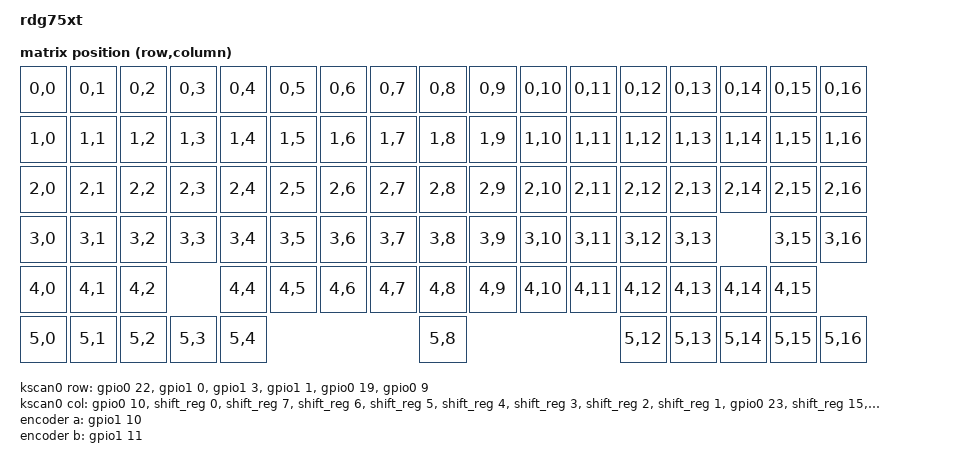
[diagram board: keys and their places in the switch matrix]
/*
 * Copyright (c) 2020 The ZMK Contributors
 *
 * SPDX-License-Identifier: MIT
 */

/dts-v1/;
#include <nordic/nrf52840_qiaa.dtsi>
#include <dt-bindings/zmk/matrix_transform.h>

/ {
	model = "rdg75xt";
	compatible = "rdg75xt";

	chosen {
		zephyr,code-partition = &code_partition;
		zephyr,sram = &sram0;
		zephyr,flash = &flash0;
		zephyr,display = &nice_view;
		zmk,kscan = &kscan0;
        zmk,matrix_transform = &default_transform;
		zmk,battery = &vbatt;
	};
 
	kscan0: kscan {
		compatible = "zmk,kscan-gpio-matrix";
		label = "KSCAN";
		diode-direction = "col2row";

        debounce-press-ms = <1>;
		debounce-release-ms = <5>;

		row-gpios
			= <&gpio0 22 (GPIO_ACTIVE_HIGH | GPIO_PULL_DOWN)>
			, <&gpio1  0 (GPIO_ACTIVE_HIGH | GPIO_PULL_DOWN)>
			, <&gpio1  3 (GPIO_ACTIVE_HIGH | GPIO_PULL_DOWN)>
			, <&gpio1  1 (GPIO_ACTIVE_HIGH | GPIO_PULL_DOWN)>
			, <&gpio0 19 (GPIO_ACTIVE_HIGH | GPIO_PULL_DOWN)>
			, <&gpio0  9 (GPIO_ACTIVE_HIGH | GPIO_PULL_DOWN)>
			;
		col-gpios
			= <&gpio0 10 GPIO_ACTIVE_HIGH>
			, <&shift_reg  0 GPIO_ACTIVE_HIGH>
			, <&shift_reg  7 GPIO_ACTIVE_HIGH>
			, <&shift_reg  6 GPIO_ACTIVE_HIGH>
			, <&shift_reg  5 GPIO_ACTIVE_HIGH>
			, <&shift_reg  4 GPIO_ACTIVE_HIGH>
			, <&shift_reg  3 GPIO_ACTIVE_HIGH>
			, <&shift_reg  2 GPIO_ACTIVE_HIGH>
			, <&shift_reg  1 GPIO_ACTIVE_HIGH>
			, <&gpio0 23 GPIO_ACTIVE_HIGH>
			, <&shift_reg 15 GPIO_ACTIVE_HIGH>
			, <&shift_reg 14 GPIO_ACTIVE_HIGH>
			, <&shift_reg 13 GPIO_ACTIVE_HIGH>
			, <&shift_reg 12 GPIO_ACTIVE_HIGH>
			, <&shift_reg 11 GPIO_ACTIVE_HIGH>
            , <&shift_reg 10 GPIO_ACTIVE_HIGH>
            , <&shift_reg  8 GPIO_ACTIVE_HIGH>
			;
	};

	default_transform: keymap_transform_0 {
        compatible = "zmk,matrix-transform";
        columns = <17>;
        rows = <6>;
        map = <
RC(0,0) RC(0,1) RC(0,2) RC(0,3) RC(0,4) RC(0,5) RC(0,6) RC(0,7) RC(0,8) RC(0,9) RC(0,10) RC(0,11) RC(0,12) RC(0,13) RC(0,14) RC(0,15) RC(0,16)
RC(1,0) RC(1,1) RC(1,2) RC(1,3) RC(1,4) RC(1,5) RC(1,6) RC(1,7) RC(1,8) RC(1,9) RC(1,10) RC(1,11) RC(1,12) RC(1,13) RC(1,14) RC(1,15) RC(1,16)
RC(2,0) RC(2,1) RC(2,2) RC(2,3) RC(2,4) RC(2,5) RC(2,6) RC(2,7) RC(2,8) RC(2,9) RC(2,10) RC(2,11) RC(2,12) RC(2,13) RC(2,14) RC(2,15) RC(2,16)
RC(3,0) RC(3,1) RC(3,2) RC(3,3) RC(3,4) RC(3,5) RC(3,6) RC(3,7) RC(3,8) RC(3,9) RC(3,10) RC(3,11) RC(3,12) RC(3,13)          RC(3,15) RC(3,16)
RC(4,0) RC(4,1) RC(4,2)         RC(4,4) RC(4,5) RC(4,6) RC(4,7) RC(4,8) RC(4,9) RC(4,10) RC(4,11) RC(4,12) RC(4,13) RC(4,14) RC(4,15)
RC(5,0) RC(5,1) RC(5,2) RC(5,3) RC(5,4)                         RC(5,8)                           RC(5,12) RC(5,13) RC(5,14) RC(5,15) RC(5,16)
        >;
    };

	sensors {
		compatible = "zmk,keymap-sensors";
		sensors = <&encoder>;
	};

	encoder: encoder_left {
		compatible = "alps,ec11";
		label = "LEFT_ENCODER";
		a-gpios = <&gpio1 10 (GPIO_ACTIVE_HIGH | GPIO_PULL_UP)>;
		b-gpios = <&gpio1 11 (GPIO_ACTIVE_HIGH | GPIO_PULL_UP)>;
		resolution = <2>;
	};

	vbatt: vbatt {
		compatible = "zmk,battery-voltage-divider";
		label = "BATTERY";
		io-channels = <&adc 7>;
		output-ohms = <2000000>;
		full-ohms = <(2000000 + 806000)>;
	};
};

&adc {
	status = "okay";
};

&gpio0 {
	status = "okay";
};

&gpio1 {
	status = "okay";
};
&usbd {
	status = "okay";
};

nice_view_spi: &spi1 {
    compatible = "nordic,nrf-spim";
    status = "okay";
    mosi-pin = <47>; // P1.15
    sck-pin =  <45>; // P1.13
    miso-pin = <46>; // P1.14, unused

    cs-gpios = <&gpio0 21 GPIO_ACTIVE_LOW>, <&gpio0 2 GPIO_ACTIVE_HIGH>;
    shift_reg: 595@0 {
        compatible = "zmk,gpio-595";
        status = "okay";
        gpio-controller;
        spi-max-frequency = <200000>;
        reg = <0>;
        label = "4HC595";
		#gpio-cells = <2>;
        ngpios = <16>;
    };

	nice_view: ls0xx@1 {
		compatible = "sharp,ls0xx";
		label = "DISPLAY";
		spi-max-frequency = <1000000>;
		reg = <1>;
		width = <160>;
		height = <68>;
	};
};

&flash0 {
	/*
	 * For more information, see:
	 * http://docs.zephyrproject.org/latest/devices/dts/flash_partitions.html
	 */
	partitions {
		compatible = "fixed-partitions";
		#address-cells = <1>;
		#size-cells = <1>;

		sd_partition: partition@0 {
			label = "softdevice";
			reg = <0x00000000 0x00026000>;
		};
		code_partition: partition@26000 {
			label = "code_partition";
			reg = <0x00026000 0x000c6000>;
		};

		/*
		 * The flash starting at 0x000ec000 and ending at
		 * 0x000f3fff is reserved for use by the application.
		 */

		/*
		 * Storage partition will be used by FCB/LittleFS/NVS
		 * if enabled.
		 */
		storage_partition: partition@ec000 {
			label = "storage";
			reg = <0x000ec000 0x00008000>;
		};

		boot_partition: partition@f4000 {
			label = "adafruit_boot";
			reg = <0x000f4000 0x0000c000>;
		};
	};
};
